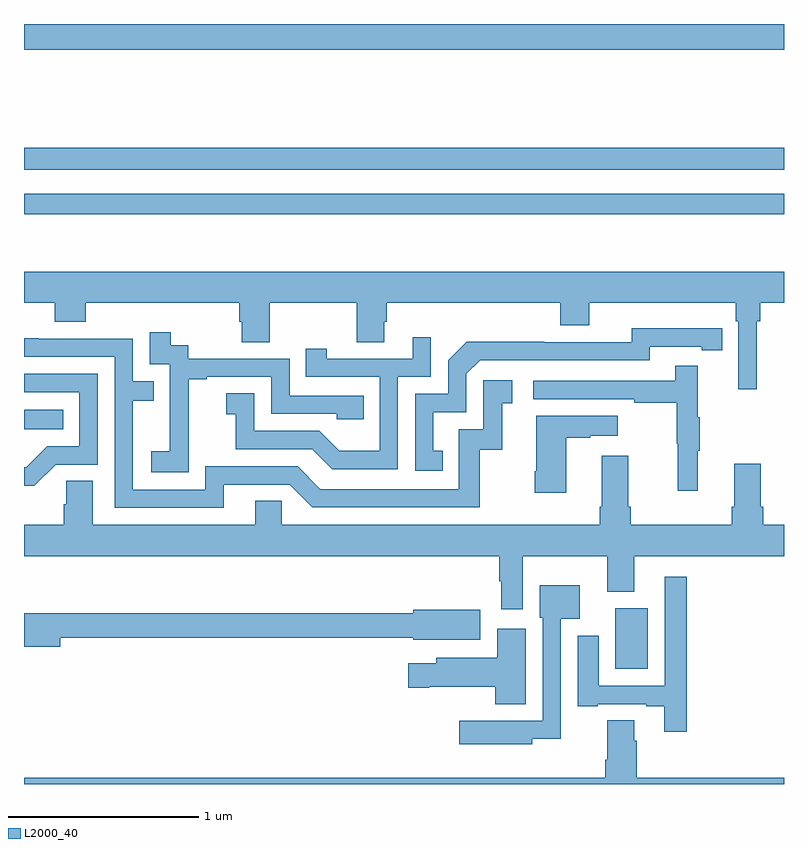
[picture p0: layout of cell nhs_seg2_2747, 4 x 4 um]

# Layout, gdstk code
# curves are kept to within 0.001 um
import gdstk
lib = gdstk.Library(unit=1e-6, precision=1e-09)
def R(c, l, rs):  # rectangles x0, y0, x1, y1
    for r in rs: c.add(gdstk.rectangle(r[:2], r[2:], *l))
def P(c, l, *ps):  # polygons
    for p in ps: c.add(gdstk.Polygon(p, *l))
L2000_40 = (2000, 40)

nhs_seg2_2747 = lib.new_cell('nhs_seg2_2747')
R(nhs_seg2_2747, L2000_40, [(258.113,616.406,258.283,616.726), (255,617.666,255.206,617.77), (255,618.798,259,618.906), (255,619.032,259,619.148), (255,619.664,259,619.8)])
P(nhs_seg2_2747, L2000_40, [(258.856,618.236),(258.875,618.236),(258.875,618.332),(259,618.332),(259,618.496),(255,618.496),(255,618.332),(255.161,618.332),(255.161,618.233),(255.326,618.233),(255.326,618.332),(256.133,618.332),(256.133,618.234),(256.145,618.234),(256.145,618.124),(256.293,618.124),(256.293,618.332),(256.75,618.332),(256.75,618.124),(256.897,618.124),(256.897,618.234),(256.91,618.234),(256.91,618.332),(257.822,618.332),(257.822,618.215),(257.974,618.215),(257.974,618.332),(258.746,618.332),(258.746,618.236),(258.759,618.236),(258.759,617.877),(258.856,617.877)],
  [(257.204,617.553),(257.155,617.553),(257.155,617.757),(257.328,617.757),(257.328,617.958),(257.4,618.03),(258.294,618.03),(258.294,618.102),(258.566,618.102),(258.566,618.082),(258.674,618.082),(258.674,618.198),(258.198,618.199),(258.198,618.126),(257.738,618.126),(257.738,618.128),(257.33,618.128),(257.232,618.03),(257.232,617.853),(257.058,617.853),(257.058,617.448),(257.204,617.448)],
  [(255.867,617.647),(255.866,617.647),(255.866,617.931),(255.961,617.931),(255.961,617.943),(256.302,617.943),(256.302,617.748),(256.647,617.748),(256.647,617.721),(256.787,617.721),(256.787,617.844),(256.398,617.844),(256.398,618.039),(255.864,618.039),(255.864,618.108),(255.772,618.108),(255.772,618.178),(255.663,618.178),(255.663,618.009),(255.768,618.009),(255.768,617.78),(255.767,617.78),(255.767,617.551),(255.669,617.551),(255.669,617.441),(255.867,617.441)],
  [(256.968,617.943),(257.142,617.943),(257.142,618.151),(257.045,618.151),(257.045,618.039),(256.594,618.039),(256.594,618.091),(256.483,618.091),(256.483,617.943),(256.872,617.943),(256.872,617.554),(256.658,617.554),(256.554,617.658),(256.212,617.658),(256.212,617.857),(256.065,617.857),(256.065,617.747),(256.114,617.747),(256.114,617.562),(256.517,617.562),(256.622,617.457),(256.968,617.457)],
  [(256.051,617.376),(256.398,617.376),(256.518,617.256),(257.398,617.256),(257.398,617.559),(257.516,617.559),(257.516,617.805),(257.569,617.805),(257.569,617.926),(257.418,617.926),(257.418,617.667),(257.289,617.667),(257.289,617.352),(256.56,617.352),(256.44,617.472),(255.954,617.472),(255.954,617.349),(255.573,617.349),(255.573,617.818),(255.683,617.818),(255.683,617.919),(255.573,617.919),(255.573,618.144),(255.077,618.144),(255.077,618.146),(255,618.146),(255,618.048),(255.477,618.048),(255.477,617.253),(256.051,617.253)],
  [(258.545,617.555),(258.556,617.555),(258.556,617.729),(258.545,617.729),(258.545,618.001),(258.427,618.001),(258.427,617.922),(257.679,617.922),(257.679,617.826),(258.211,617.826),(258.211,617.806),(258.435,617.806),(258.435,617.592),(258.442,617.592),(258.442,617.343),(258.545,617.343)],
  [(255.168,617.481),(255.387,617.481),(255.387,617.958),(255,617.958),(255,617.862),(255.291,617.862),(255.291,617.577),(255.122,617.577),(255.011,617.466),(255,617.466),(255,617.369),(255.055,617.369)],
  [(257.854,617.623),(257.981,617.623),(257.981,617.633),(258.124,617.633),(258.124,617.737),(257.696,617.737),(257.696,617.446),(257.689,617.446),(257.689,617.334),(257.854,617.334)],
  [(257.626,617),(258.071,617),(258.071,616.811),(258.211,616.811),(258.211,617),(259,617),(259,617.164),(258.89,617.164),(258.89,617.26),(258.877,617.26),(258.877,617.485),(258.737,617.485),(258.737,617.26),(258.725,617.26),(258.725,617.164),(258.194,617.164),(258.194,617.26),(258.181,617.26),(258.181,617.527),(258.041,617.527),(258.041,617.26),(258.029,617.26),(258.029,617.164),(256.356,617.164),(256.356,617.291),(256.217,617.291),(256.217,617.164),(255.361,617.164),(255.361,617.396),(255.222,617.396),(255.222,617.273),(255.209,617.273),(255.209,617.164),(255,617.164),(255,617),(257.501,617),(257.501,616.868),(257.513,616.868),(257.513,616.719),(257.626,616.719)],
  [(258.488,616.891),(258.372,616.891),(258.372,616.317),(258.025,616.317),(258.025,616.579),(257.915,616.579),(257.915,616.209),(258.019,616.209),(258.019,616.221),(258.275,616.221),(258.275,616.209),(258.371,616.209),(258.371,616.074),(258.488,616.074)],
  [(257.676,616.037),(257.826,616.037),(257.826,616.67),(257.926,616.67),(257.926,616.846),(257.714,616.846),(257.714,616.674),(257.73,616.674),(257.73,616.134),(257.514,616.134),(257.514,616.132),(257.291,616.132),(257.291,616.01),(257.676,616.01)],
  [(255.19,616.57),(257.048,616.57),(257.048,616.559),(257.401,616.559),(257.401,616.717),(257.048,616.717),(257.048,616.699),(255,616.699),(255,616.523),(255.19,616.523)],
  [(257.641,616.618),(257.492,616.618),(257.492,616.465),(257.171,616.465),(257.171,616.435),(257.022,616.435),(257.022,616.306),(257.134,616.306),(257.134,616.313),(257.48,616.313),(257.48,616.219),(257.641,616.219)],
  [(259,615.832),(258.224,615.832),(258.224,616.028),(258.211,616.028),(258.211,616.136),(258.071,616.136),(258.071,615.928),(258.059,615.928),(258.059,615.832),(255,615.832),(255,615.8),(259,615.8)])

lib.write_gds('nhs_seg2_2747.gds')
